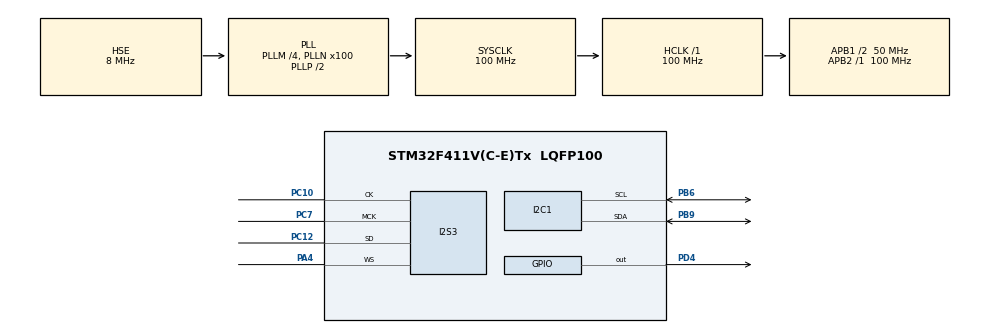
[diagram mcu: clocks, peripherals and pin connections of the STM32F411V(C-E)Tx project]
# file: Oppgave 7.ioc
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Dma.Request0=SPI3_TX
Dma.SPI3_TX.0.Direction=DMA_MEMORY_TO_PERIPH
Dma.SPI3_TX.0.FIFOMode=DMA_FIFOMODE_ENABLE
Dma.SPI3_TX.0.FIFOThreshold=DMA_FIFO_THRESHOLD_FULL
Dma.SPI3_TX.0.Instance=DMA1_Stream5
Dma.SPI3_TX.0.MemBurst=DMA_MBURST_SINGLE
Dma.SPI3_TX.0.MemDataAlignment=DMA_MDATAALIGN_HALFWORD
Dma.SPI3_TX.0.MemInc=DMA_MINC_ENABLE
Dma.SPI3_TX.0.Mode=DMA_CIRCULAR
Dma.SPI3_TX.0.PeriphBurst=DMA_PBURST_SINGLE
Dma.SPI3_TX.0.PeriphDataAlignment=DMA_PDATAALIGN_HALFWORD
Dma.SPI3_TX.0.PeriphInc=DMA_PINC_DISABLE
Dma.SPI3_TX.0.Priority=DMA_PRIORITY_LOW
I2S3.AudioFreq=I2S_AUDIOFREQ_48K
I2S3.ErrorAudioFreq=1.72 %
I2S3.FullDuplexMode=I2S_FULLDUPLEXMODE_DISABLE
I2S3.Instance=SPI$Index
I2S3.RealAudioFreq=48.828 KHz
I2S3.VirtualMode=I2S_MODE_MASTER
Mcu.Family=STM32F4
Mcu.Name=STM32F411V(C-E)Tx
Mcu.Package=LQFP100
NVIC.DMA1_Stream5_IRQn=true\:0\:0\:false\:false\:true\:false\:true\:true
NVIC.PriorityGroup=NVIC_PRIORITYGROUP_0
PA4.Mode=Half_Duplex_Master
PA4.Signal=I2S3_WS
PB6.Mode=I2C
PB6.Signal=I2C1_SCL
PB9.Mode=I2C
PB9.Signal=I2C1_SDA
PC10.Mode=Half_Duplex_Master
PC10.Signal=I2S3_CK
PC12.Mode=Half_Duplex_Master
PC12.Signal=I2S3_SD
PC7.Mode=Master_Clock_Activated
PC7.Signal=I2S3_MCK
PD4.Signal=GPIO_Output
PH0\ -\ OSC_IN.Mode=HSE-External-Oscillator
PH0\ -\ OSC_IN.Signal=RCC_OSC_IN
PH1\ -\ OSC_OUT.Mode=HSE-External-Oscillator
PH1\ -\ OSC_OUT.Signal=RCC_OSC_OUT
ProjectManager.HeapSize=0x200
ProjectManager.StackSize=0x400
ProjectManager.TargetToolchain=STM32CubeIDE
RCC.48MHZClocksFreq_Value=25000000
RCC.AHBFreq_Value=100000000
RCC.APB1CLKDivider=RCC_HCLK_DIV2
RCC.APB1Freq_Value=50000000
RCC.APB1TimFreq_Value=100000000
RCC.APB2Freq_Value=100000000
RCC.APB2TimFreq_Value=100000000
RCC.CortexFreq_Value=100000000
RCC.HCLKFreq_Value=100000000
RCC.HSE_VALUE=8000000
RCC.HSI_VALUE=16000000
RCC.LSE_VALUE=32768
RCC.PLLI2SM=8
RCC.PLLI2SN=200
RCC.PLLM=4
RCC.PLLN=100
RCC.PLLQ=8
RCC.PLLSourceVirtual=RCC_PLLSOURCE_HSE
RCC.SYSCLKFreq_VALUE=100000000
RCC.SYSCLKSource=RCC_SYSCLKSOURCE_PLLCLK
RCC.VCOOutputFreq_Value=200000000
board=STM32F411E-DISCO

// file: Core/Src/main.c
/* USER CODE BEGIN Header */
/**
  ******************************************************************************
  * @file           : main.c
  * @brief          : Main program body
  ******************************************************************************
  * @attention
  *
  * Copyright (c) 2024 STMicroelectronics.
  * All rights reserved.
  *
  * This software is licensed under terms that can be found in the LICENSE file
  * in the root directory of this software component.
  * If no LICENSE file comes with this software, it is provided AS-IS.
  *
  ******************************************************************************
  */
/* USER CODE END Header */
#include "main.h"

/* USER CODE BEGIN Includes */
#include "MY_CS43L22.h"
#include <math.h>
void gen_sine_wave(float freq);
/* USER CODE END Includes */

I2C_HandleTypeDef hi2c1;

I2S_HandleTypeDef hi2s3;
DMA_HandleTypeDef hdma_spi3_tx;

/* USER CODE BEGIN PV */

#define PI 			3.14159f
#define F_OUT		1000.0f
#define F_SAMPLE	48000.0f

/* USER CODE END PV */

void SystemClock_Config(void);
static void MX_GPIO_Init(void);
static void MX_DMA_Init(void);
static void MX_I2S3_Init(void);
static void MX_I2C1_Init(void);

/* USER CODE BEGIN 0 */

float sinVal;
float sample_dt;
uint16_t sample_N;
int16_t audioData[110];

/* USER CODE END 0 */

int main(void)
{

  /* MCU Configuration--------------------------------------------------------*/

  /* Reset of all peripherals, Initializes the Flash interface and the Systick. */
  HAL_Init();

  /* Configure the system clock */
  SystemClock_Config();

  /* Initialize all configured peripherals */
  MX_GPIO_Init();
  MX_DMA_Init();
  MX_I2S3_Init();
  MX_I2C1_Init();
  /* USER CODE BEGIN 2 */

  CS43_Init(hi2c1, MODE_I2S);
  CS43_SetVolume(5);
  CS43_Enable_RightLeft(CS43_RIGHT);
  CS43_Start();

  /**** Call gen_sine_wave function ****/
  gen_sine_wave(F_OUT);

  /**** Transmit data using DMA ****/
  /* Mono */
  HAL_I2S_Transmit_DMA(&hi2s3, (uint16_t *)audioData, sample_N);
  /* Stereo */
  //HAL_I2S_Transmit_DMA(&hi2s3, (uint16_t *)audioData, sample_N*2);

  /* USER CODE END 2 */

  /* Infinite loop */
  while (1)
  {

  }
}

void SystemClock_Config(void)
{
  RCC_OscInitTypeDef RCC_OscInitStruct = {0};
  RCC_ClkInitTypeDef RCC_ClkInitStruct = {0};

  /** Configure the main internal regulator output voltage
  */
  __HAL_RCC_PWR_CLK_ENABLE();
  __HAL_PWR_VOLTAGESCALING_CONFIG(PWR_REGULATOR_VOLTAGE_SCALE1);

  /** Initializes the RCC Oscillators according to the specified parameters
  * in the RCC_OscInitTypeDef structure.
  */
  RCC_OscInitStruct.OscillatorType = RCC_OSCILLATORTYPE_HSE;
  RCC_OscInitStruct.HSEState = RCC_HSE_ON;
  RCC_OscInitStruct.PLL.PLLState = RCC_PLL_ON;
  RCC_OscInitStruct.PLL.PLLSource = RCC_PLLSOURCE_HSE;
  RCC_OscInitStruct.PLL.PLLM = 4;
  RCC_OscInitStruct.PLL.PLLN = 100;
  RCC_OscInitStruct.PLL.PLLP = RCC_PLLP_DIV2;
  RCC_OscInitStruct.PLL.PLLQ = 8;
  if (HAL_RCC_OscConfig(&RCC_OscInitStruct) != HAL_OK)
  {
    Error_Handler();
  }

  /** Initializes the CPU, AHB and APB buses clocks
  */
  RCC_ClkInitStruct.ClockType = RCC_CLOCKTYPE_HCLK|RCC_CLOCKTYPE_SYSCLK
                              |RCC_CLOCKTYPE_PCLK1|RCC_CLOCKTYPE_PCLK2;
  RCC_ClkInitStruct.SYSCLKSource = RCC_SYSCLKSOURCE_PLLCLK;
  RCC_ClkInitStruct.AHBCLKDivider = RCC_SYSCLK_DIV1;
  RCC_ClkInitStruct.APB1CLKDivider = RCC_HCLK_DIV2;
  RCC_ClkInitStruct.APB2CLKDivider = RCC_HCLK_DIV1;

  if (HAL_RCC_ClockConfig(&RCC_ClkInitStruct, FLASH_LATENCY_3) != HAL_OK)
  {
    Error_Handler();
  }
}

static void MX_I2C1_Init(void)
{

  hi2c1.Instance = I2C1;
  hi2c1.Init.ClockSpeed = 100000;
  hi2c1.Init.DutyCycle = I2C_DUTYCYCLE_2;
  hi2c1.Init.OwnAddress1 = 0;
  hi2c1.Init.AddressingMode = I2C_ADDRESSINGMODE_7BIT;
  hi2c1.Init.DualAddressMode = I2C_DUALADDRESS_DISABLE;
  hi2c1.Init.OwnAddress2 = 0;
  hi2c1.Init.GeneralCallMode = I2C_GENERALCALL_DISABLE;
  hi2c1.Init.NoStretchMode = I2C_NOSTRETCH_DISABLE;
  if (HAL_I2C_Init(&hi2c1) != HAL_OK)
  {
    Error_Handler();
  }

}

static void MX_I2S3_Init(void)
{

  hi2s3.Instance = SPI3;
  hi2s3.Init.Mode = I2S_MODE_MASTER_TX;
  hi2s3.Init.Standard = I2S_STANDARD_PHILIPS;
  hi2s3.Init.DataFormat = I2S_DATAFORMAT_16B;
  hi2s3.Init.MCLKOutput = I2S_MCLKOUTPUT_ENABLE;
  hi2s3.Init.AudioFreq = I2S_AUDIOFREQ_48K;
  hi2s3.Init.CPOL = I2S_CPOL_LOW;
  hi2s3.Init.ClockSource = I2S_CLOCK_PLL;
  hi2s3.Init.FullDuplexMode = I2S_FULLDUPLEXMODE_DISABLE;
  if (HAL_I2S_Init(&hi2s3) != HAL_OK)
  {
    Error_Handler();
  }

}

static void MX_DMA_Init(void)
{

  /* DMA controller clock enable */
  __HAL_RCC_DMA1_CLK_ENABLE();

  /* DMA interrupt init */
  /* DMA1_Stream5_IRQn interrupt configuration */
  HAL_NVIC_SetPriority(DMA1_Stream5_IRQn, 0, 0);
  HAL_NVIC_EnableIRQ(DMA1_Stream5_IRQn);

}

static void MX_GPIO_Init(void)
{
  GPIO_InitTypeDef GPIO_InitStruct = {0};

  /* GPIO Ports Clock Enable */
  __HAL_RCC_GPIOH_CLK_ENABLE();
  __HAL_RCC_GPIOA_CLK_ENABLE();
  __HAL_RCC_GPIOC_CLK_ENABLE();
  __HAL_RCC_GPIOD_CLK_ENABLE();
  __HAL_RCC_GPIOB_CLK_ENABLE();

  /*Configure GPIO pin Output Level */
  HAL_GPIO_WritePin(GPIOD, GPIO_PIN_4, GPIO_PIN_RESET);

  /*Configure GPIO pin : PD4 */
  GPIO_InitStruct.Pin = GPIO_PIN_4;
  GPIO_InitStruct.Mode = GPIO_MODE_OUTPUT_PP;
  GPIO_InitStruct.Pull = GPIO_NOPULL;
  GPIO_InitStruct.Speed = GPIO_SPEED_FREQ_LOW;
  HAL_GPIO_Init(GPIOD, &GPIO_InitStruct);

}

/* USER CODE BEGIN 4 */

void gen_sine_wave(float freq){
	sample_N = F_SAMPLE/freq;
	sample_dt = freq/F_SAMPLE;

	for (uint16_t i = 0; i < sample_N; ++i) {
		sinVal = sinf(i*2*PI*sample_dt);
		/* Mono test #1 */
		audioData[i] = (sinVal )*5000;
		/* Mono test #2 */
		//audioData[i*2] = (sinVal )*5000;
		//audioData[i*2 + 1] = 0;
		/* Stereo */
		//audioData[i*2] = (sinVal )*5000;
		//audioData[i*2 + 1] = (sinVal )*5000;
	}
}

/* USER CODE END 4 */

void Error_Handler(void)
{
  __disable_irq();
  while (1)
  {
  }
}
